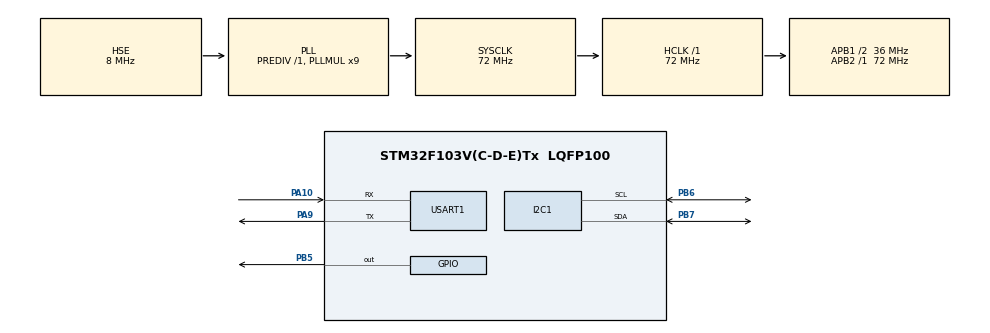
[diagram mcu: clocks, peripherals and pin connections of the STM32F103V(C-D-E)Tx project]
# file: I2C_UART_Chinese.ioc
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Mcu.Family=STM32F1
Mcu.Name=STM32F103V(C-D-E)Tx
Mcu.Package=LQFP100
NVIC.PriorityGroup=NVIC_PRIORITYGROUP_4
OSC_IN.Mode=HSE-External-Oscillator
OSC_IN.Signal=RCC_OSC_IN
OSC_OUT.Mode=HSE-External-Oscillator
OSC_OUT.Signal=RCC_OSC_OUT
PA10.Mode=Asynchronous
PA10.Signal=USART1_RX
PA13.Mode=Serial_Wire
PA13.Signal=SYS_JTMS-SWDIO
PA14.Mode=Serial_Wire
PA14.Signal=SYS_JTCK-SWCLK
PA9.Mode=Asynchronous
PA9.Signal=USART1_TX
PB5.GPIO_Speed=GPIO_SPEED_FREQ_HIGH
PB5.PinState=GPIO_PIN_SET
PB5.Signal=GPIO_Output
PB6.Mode=I2C
PB6.Signal=I2C1_SCL
PB7.Mode=I2C
PB7.Signal=I2C1_SDA
PC14-OSC32_IN.Mode=LSE-External-Oscillator
PC14-OSC32_IN.Signal=RCC_OSC32_IN
PC15-OSC32_OUT.Mode=LSE-External-Oscillator
PC15-OSC32_OUT.Signal=RCC_OSC32_OUT
ProjectManager.HeapSize=0x200
ProjectManager.StackSize=0x400
ProjectManager.TargetToolchain=MDK-ARM V5
RCC.AHBFreq_Value=72000000
RCC.APB1CLKDivider=RCC_HCLK_DIV2
RCC.APB1Freq_Value=36000000
RCC.APB1TimFreq_Value=72000000
RCC.APB2Freq_Value=72000000
RCC.APB2TimFreq_Value=72000000
RCC.HCLKFreq_Value=72000000
RCC.PLLMUL=RCC_PLL_MUL9
RCC.PLLSourceVirtual=RCC_PLLSOURCE_HSE
RCC.SYSCLKFreq_VALUE=72000000
RCC.SYSCLKSource=RCC_SYSCLKSOURCE_PLLCLK
RCC.USBFreq_Value=72000000
USART1.VirtualMode=VM_ASYNC
board=custom

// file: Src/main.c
/* USER CODE BEGIN Header */
/**
  ******************************************************************************
  * @file           : main.c
  * @brief          : Main program body
  ******************************************************************************
  * @attention
  *
  * <h2><center>&copy; Copyright (c) 2022 STMicroelectronics.
  * All rights reserved.</center></h2>
  *
  * This software component is licensed by ST under BSD 3-Clause license,
  * the "License"; You may not use this file except in compliance with the
  * License. You may obtain a copy of the License at:
  *                        opensource.org/licenses/BSD-3-Clause
  *
  ******************************************************************************
  */
/* USER CODE END Header */

#include "main.h"

/* USER CODE BEGIN Includes */
#include "hex2bin.h"
#include "array.h"

/* USER CODE END Includes */

/* USER CODE BEGIN PTD */
#ifdef __GNUC__
  /* With GCC, small printf (option LD Linker->Libraries->Small printf
     set to 'Yes') calls __io_putchar() */
  #define PUTCHAR_PROTOTYPE int __io_putchar(int ch)
#else
  #define PUTCHAR_PROTOTYPE int fputc(int ch, FILE *f)
#endif /* __GNUC__ */
/* USER CODE END PTD */

/* USER CODE BEGIN PD */
const uint8_t BH1750_ADDR = 0x23; //
uint8_t dataBuffer[2] = {0x11}; // 0x10 continous high reso measurement mode
#define light_mode LIGHT_MODE_AUTO
/* USER CODE END PD */

I2C_HandleTypeDef hi2c1;

UART_HandleTypeDef huart1;

void SystemClock_Config(void);
static void MX_GPIO_Init(void);
static void MX_I2C1_Init(void);
static void MX_USART1_UART_Init(void);

int main(void)
{
  /* USER CODE BEGIN 1 */
		// Must initialize buffer at the start of every round
		uint8_t dataBufferChar[2] = {0x00,0x00};
		uint8_t lux_msb;
		uint8_t lux_lsb;

	// for UART Transmission
		uint8_t *plux_msb = &lux_msb;
		uint8_t *plux_lsb = &lux_lsb;

	// 16-bit storages
		uint16_t lux = 0;
		uint16_t lux_data = 0;
	/* USER CODE END 1 */

  /* MCU Configuration--------------------------------------------------------*/

  /* Reset of all peripherals, Initializes the Flash interface and the Systick. */
  HAL_Init();

  /* Configure the system clock */
  SystemClock_Config();

  /* Initialize all configured peripherals */
  MX_GPIO_Init();
  MX_I2C1_Init();
  MX_USART1_UART_Init();

  /* Infinite loop */
  while (1)
  {
    /* USER CODE BEGIN 3 */
		char binary_buffer[17] = {};
		char result[5] = {};
		lux_data = 0;
		uint16_t lux_array[5] = {};
		//uint8_t data[] = "Nope, standing up for myself\n";
		//HAL_UART_Transmit(&huart1, data, sizeof(data), 500);
		//HAL_Delay(500);
		HAL_I2C_Master_Transmit(&hi2c1, BH1750_ADDR<<1, dataBuffer, 1, 500);
		HAL_Delay(180);
		HAL_I2C_Master_Receive(&hi2c1, BH1750_ADDR<<1, dataBufferChar, 2, 500);
		lux_msb = dataBufferChar[0];
		lux_lsb = dataBufferChar[1];
		lux = (lux_msb << 8 )| lux_lsb;
		sprintf(result, "%04x", lux);
		HexToBin(result, binary_buffer);
		for(uint8_t x = 0; x<16; x++){
			switch(binary_buffer[15-x]){
				case '1': lux_data = lux_data + pow(2,x);
					break;

				case '0':
				default:
						lux_data += 0;
			}
		}
		char data[14];
		sprintf(data, "%04d lux \r\n", lux_data);
		light_on_Init();

		for (uint8_t x=0;x<5;x++)
		{
			if(lux <= LUX_THRESHOLD)
			{
				lux_array[x] = 1;
			}
			else{
				lux_array[x] = 0;
			}
			HAL_Delay(250);
		}

		if(light_status_indicator(light_mode, lux_array)==1)
		{
				HAL_GPIO_WritePin(GPIOB,GPIO_PIN_5,0);
		}
		else
		{
			HAL_GPIO_WritePin(GPIOB,GPIO_PIN_5,1);
		}

		HAL_UART_Transmit(&huart1, (uint8_t*)(data), strlen(data), 500);
		HAL_Delay(100);

  }
  /* USER CODE END 3 */
}

void SystemClock_Config(void)
{
  RCC_OscInitTypeDef RCC_OscInitStruct = {0};
  RCC_ClkInitTypeDef RCC_ClkInitStruct = {0};

  /** Initializes the CPU, AHB and APB busses clocks
  */
  RCC_OscInitStruct.OscillatorType = RCC_OSCILLATORTYPE_HSE;
  RCC_OscInitStruct.HSEState = RCC_HSE_ON;
  RCC_OscInitStruct.HSEPredivValue = RCC_HSE_PREDIV_DIV1;
  RCC_OscInitStruct.HSIState = RCC_HSI_ON;
  RCC_OscInitStruct.PLL.PLLState = RCC_PLL_ON;
  RCC_OscInitStruct.PLL.PLLSource = RCC_PLLSOURCE_HSE;
  RCC_OscInitStruct.PLL.PLLMUL = RCC_PLL_MUL9;
  if (HAL_RCC_OscConfig(&RCC_OscInitStruct) != HAL_OK)
  {
    Error_Handler();
  }
  /** Initializes the CPU, AHB and APB busses clocks
  */
  RCC_ClkInitStruct.ClockType = RCC_CLOCKTYPE_HCLK|RCC_CLOCKTYPE_SYSCLK
                              |RCC_CLOCKTYPE_PCLK1|RCC_CLOCKTYPE_PCLK2;
  RCC_ClkInitStruct.SYSCLKSource = RCC_SYSCLKSOURCE_PLLCLK;
  RCC_ClkInitStruct.AHBCLKDivider = RCC_SYSCLK_DIV1;
  RCC_ClkInitStruct.APB1CLKDivider = RCC_HCLK_DIV2;
  RCC_ClkInitStruct.APB2CLKDivider = RCC_HCLK_DIV1;

  if (HAL_RCC_ClockConfig(&RCC_ClkInitStruct, FLASH_LATENCY_2) != HAL_OK)
  {
    Error_Handler();
  }
}

static void MX_I2C1_Init(void)
{

  hi2c1.Instance = I2C1;
  hi2c1.Init.ClockSpeed = 100000;
  hi2c1.Init.DutyCycle = I2C_DUTYCYCLE_2;
  hi2c1.Init.OwnAddress1 = 0;
  hi2c1.Init.AddressingMode = I2C_ADDRESSINGMODE_7BIT;
  hi2c1.Init.DualAddressMode = I2C_DUALADDRESS_DISABLE;
  hi2c1.Init.OwnAddress2 = 0;
  hi2c1.Init.GeneralCallMode = I2C_GENERALCALL_DISABLE;
  hi2c1.Init.NoStretchMode = I2C_NOSTRETCH_DISABLE;
  if (HAL_I2C_Init(&hi2c1) != HAL_OK)
  {
    Error_Handler();
  }

}

static void MX_USART1_UART_Init(void)
{

  huart1.Instance = USART1;
  huart1.Init.BaudRate = 115200;
  huart1.Init.WordLength = UART_WORDLENGTH_8B;
  huart1.Init.StopBits = UART_STOPBITS_1;
  huart1.Init.Parity = UART_PARITY_NONE;
  huart1.Init.Mode = UART_MODE_TX_RX;
  huart1.Init.HwFlowCtl = UART_HWCONTROL_NONE;
  huart1.Init.OverSampling = UART_OVERSAMPLING_16;
  if (HAL_UART_Init(&huart1) != HAL_OK)
  {
    Error_Handler();
  }

}

static void MX_GPIO_Init(void)
{
  GPIO_InitTypeDef GPIO_InitStruct = {0};

  /* GPIO Ports Clock Enable */
  __HAL_RCC_GPIOC_CLK_ENABLE();
  __HAL_RCC_GPIOA_CLK_ENABLE();
  __HAL_RCC_GPIOB_CLK_ENABLE();

  /*Configure GPIO pin Output Level */
  HAL_GPIO_WritePin(GPIOB, GPIO_PIN_5, GPIO_PIN_SET);

  /*Configure GPIO pin : PB5 */
  GPIO_InitStruct.Pin = GPIO_PIN_5;
  GPIO_InitStruct.Mode = GPIO_MODE_OUTPUT_PP;
  GPIO_InitStruct.Pull = GPIO_NOPULL;
  GPIO_InitStruct.Speed = GPIO_SPEED_FREQ_HIGH;
  HAL_GPIO_Init(GPIOB, &GPIO_InitStruct);

}

/* USER CODE BEGIN 4 */
PUTCHAR_PROTOTYPE
{
  /* Place your implementation of fputc here */
  /* e.g. write a character to the EVAL_COM1 and Loop until the end of transmission */
  HAL_UART_Transmit(&huart1, (uint8_t *)&ch, 1, 0xFFFF);

  return ch;
}
/* USER CODE END 4 */

void Error_Handler(void)
{
}

/************************ (C) COPYRIGHT STMicroelectronics *****END OF FILE****/
